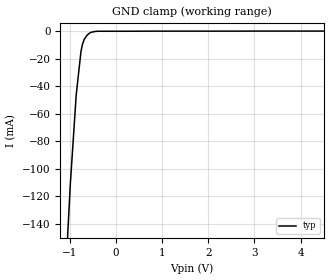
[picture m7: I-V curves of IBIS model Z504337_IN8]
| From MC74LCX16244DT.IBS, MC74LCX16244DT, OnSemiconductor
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| (C) COPYRIGHT 1993-2000
| MENTOR GRAPHICS CORPORATION
| ICX STANDARD LIBRARY, ICX PROJECT MODELING,
| ICX CUSTOM MODELING, ICX VENDOR MODEL
| ALL RIGHTS RESERVED.
| THE FOLLOWING ARE TRADEMARKS OR SERVICE MARKS OF
| MENTOR GRAPHICS CORPORATION:ICX (R), ICX STANDARD
| LIBRARY(R), ICX PROJECT MODELING(R), ICX CUSTOM
| MODELING(R), qualityIBIS(TM), MODELVIEWER(TM),
| AND MODELEDITOR(TM)
| ALL COPIES OF SOFTWARE, INCLUDING BUT NOT LIMITED TO
| ANY MODIFICATIONS, ENHANCEMENTS OR DERIVATIVE WORKS,
| MUST CONTAIN ALL MENTOR GRAPHICS CORPORATION'S
| NOTICES AND LEGENDS, INCLUDING THOSE EMBEDDED IN
| SOFTWARE AND THOSE AFFIXED TO SOFTWARE MEDIUM
| AND CONTAINER, AS RECEIVED FROM MENTOR GRAPHICS
| CORPORATION.
| Model Application Version 1.89 2/18/99.
[Model] Z504337_IN8
Model_type Input
Vinl = 800.0mV
Vinh = 2.000V
C_comp 4.000pF NA NA
| variable typ   min   max
[Voltage Range] 3.300V NA NA
[GND Clamp Reference] 0.000V NA NA
[POWER Clamp Reference] 3.300V NA NA
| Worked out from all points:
|   GND clamp passes 1 mA (typ) near -0.56 V on its own axis
[GND Clamp]
-3.3V     -1.608A    NA         NA
-986.3mV  -111.2mA   NA         NA
-858.7mV  -46.15mA   NA         NA
-755.5mV  -14.56mA   NA         NA
-722.6mV  -9.258mA   NA         NA
-682.9mV  -5.618mA   NA         NA
-625mV    -2.746mA   NA         NA
-532mV    -580.9uA   NA         NA
-390.6mV  153.1uA    NA         NA
6.6V      283.3uA    NA         NA
[POWER Clamp]
-3.3V     0A         NA         NA
6.6V      0A         NA         NA
